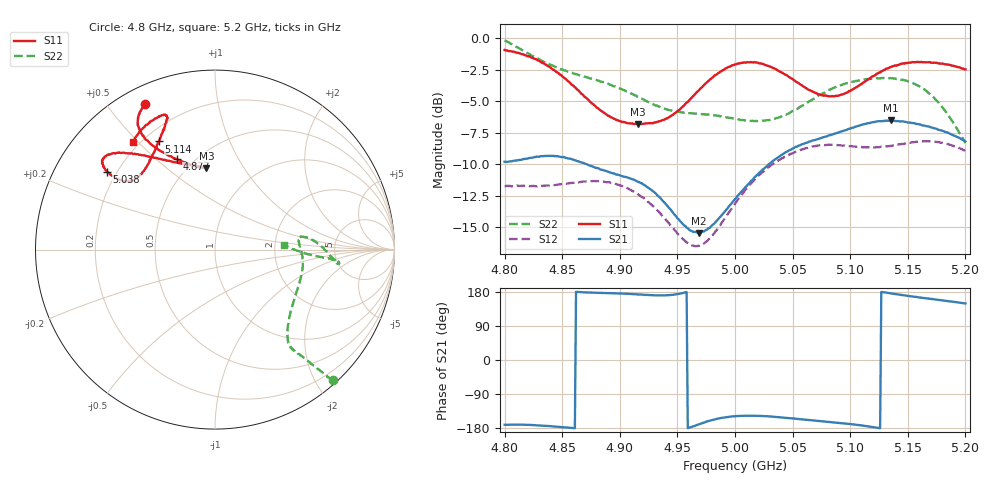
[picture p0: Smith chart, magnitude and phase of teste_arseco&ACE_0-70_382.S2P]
! Network Analyzer HP8722D
! Hewlett-Packard
! Data name: Linha & Wilkinson
! Saver's name: Rodrigo Anjos
! Comments: Teste da utilização de aquisição
! continua pelo VNA HP8722D
! Time and date: 8/5/2025 15:56
!  Frequency  S11  S21  S12  S22
# HZ  S  MA R 50
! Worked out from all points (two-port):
!   401 points, 4.8 GHz to 5.2 GHz, reference 50 ohm
!   highest |S21| = -6.51 dB at 5.135 GHz (marker M1); lowest = -15.5 dB at 4.969 GHz (marker M2)
!   |S21| within 3 dB of the highest: 4.822 GHz to 4.854 GHz (32.42 MHz wide, 0.67 % of centre); 5.037 GHz to end of sweep
!   lowest |S11| = -6.8 dB at 4.916 GHz (marker M3), VSWR 2.68, Z = 30.4 + j34.8 ohm
!   |S11| at or under -10 dB: nowhere
!   |S22| runs from -8.3 to -0.2 dB; largest |S21 - S12| = 0.83
!   S11 on the Smith chart (normalised r, x): 4.8 GHz: 0.07, +0.63; 4.877 GHz: 0.41, +0.59; 5.038 GHz: 0.16, +0.31; 5.114 GHz: 0.26, +0.58; 5.2 GHz: 0.17, +0.48
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4.8e9  0.8986 115.6  0.3233 -170.9  0.2589 -86.3  0.9801 -48.0
4.819e9  0.8536 120.1  0.3328 -171.1  0.2588 -82.2  0.8781 -49.3
4.835e9  0.789 122.2  0.3411 -173.5  0.2598 -76.9  0.8034 -50.3
4.867e9  0.6 117.4  0.3211 178.9  0.2691 -68.1  0.7097 -52.0
4.877e9  0.5469 112.8  0.3087 177.5  0.2712 -67.1  0.6881 -52.2
4.898e9  0.4724 101.5  0.2877 175.8  0.2621 -67.5  0.6378 -50.6
4.916e9  0.4559 96.0  0.2692 173.1  0.2398 -69.4  0.5837 -45.8
4.934e9  0.4676 99.9  0.2351 170.4  0.2047 -70.2  0.5354 -36.8
4.957e9  0.5493 116.5  0.1797 178.8  0.1561 -59.5  0.5064 -21.7
4.969e9  0.6238 124.3  0.1688 -169.2  0.1501 -46.0  0.5009 -14.7
4.98e9  0.6961 129.9  0.1806 -158.4  0.1646 -33.9  0.4961 -9.1
5e9  0.7871 137.3  0.2297 -148.4  0.2207 -21.7  0.4782 -0.3
5.019e9  0.8012 141.7  0.2862 -147.4  0.2802 -19.2  0.4684 5.7
5.038e9  0.7414 144.3  0.3383 -150.7  0.3289 -19.5  0.4853 8.5
5.067e9  0.6155 141.8  0.3928 -159.3  0.3716 -21.7  0.5701 3.7
5.088e9  0.5912 132.6  0.42 -165.2  0.3764 -24.9  0.6416 -2.9
5.114e9  0.6789 117.4  0.4576 -174.4  0.3683 -27.7  0.6871 -6.5
5.134e9  0.7647 110.8  0.4697 176.4  0.373 -29.9  0.6939 -5.9
5.135e9  0.7686 110.7  0.4727 175.9  0.3743 -29.9  0.6945 -5.8
5.162e9  0.8056 112.7  0.452 164.4  0.3898 -36.8  0.6375 -4.5
5.179e9  0.7932 118.7  0.4309 157.7  0.3848 -42.2  0.5392 -3.2
5.2e9  0.7526 127.5  0.3892 149.2  0.3577 -47.8  0.3838 3.7
